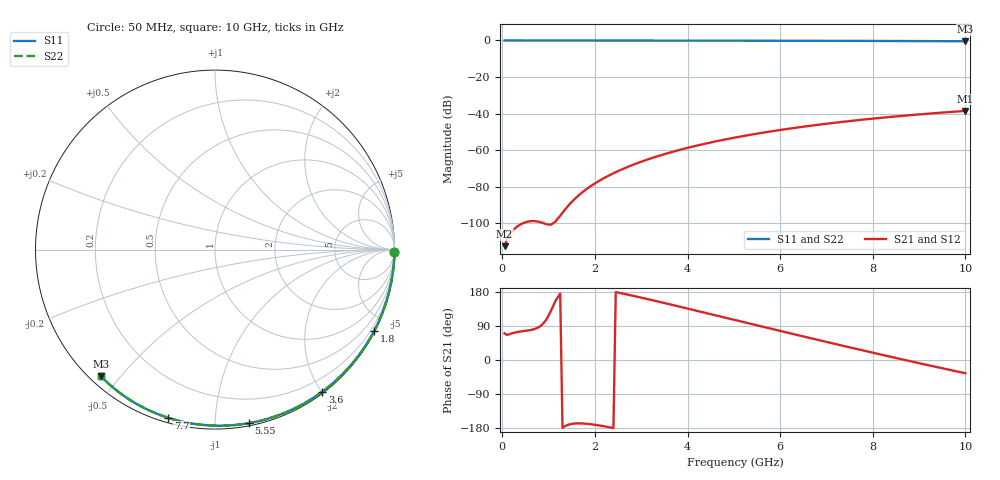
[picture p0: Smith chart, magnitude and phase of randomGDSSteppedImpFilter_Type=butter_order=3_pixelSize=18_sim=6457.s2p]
! freq	dB(S11)	phase(S11)	dB(S12)	phase(S12)
!  dB(S21)	phase(S21)	dB(S22)	phase(S22)
!S-par simulation data
#  GHz  S  DB  R 50
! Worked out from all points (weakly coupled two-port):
!   200 points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, 50 MHz to 10 GHz, reference 50 ohm
!   highest |S21| = -38.51 dB at 10 GHz (marker M1); lowest = -112.5 dB at 50 MHz (marker M2)
!   lowest |S11| = -0.4 dB at 10 GHz (marker M3), VSWR 39.03, Z = 1.54 - j22.3 ohm
!   |S11| at or under -10 dB: nowhere
!   |S22| runs from -0.4 to 0.0 dB; largest |S21 - S12| = 0
!   S11 on the Smith chart (normalised r, x): 50 MHz: open; 1.8 GHz: 0.04, -4.16; 3.6 GHz: 0.02, -2.01; 5.55 GHz: 0.02, -1.21; 7.7 GHz: 0.02, -0.76; 10 GHz: 0.03, -0.45
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0.05  -0.00 -0.8  -112.47 70.1  -112.47 70.1  -0.00 -0.8
0.45  -0.01 -6.9  -99.87 76.1  -99.87 76.1  -0.01 -6.9
0.9  -0.02 -13.7  -100.02 98.6  -100.02 98.6  -0.02 -13.7
1.75  -0.03 -26.3  -82.58 -167.7  -82.58 -167.7  -0.03 -26.3
1.8  -0.03 -27.0  -81.61 -168.1  -81.61 -168.1  -0.03 -27.0
1.9  -0.04 -28.5  -79.82 -169.3  -79.82 -169.3  -0.04 -28.5
2.05  -0.04 -30.7  -77.38 -171.9  -77.38 -171.9  -0.04 -30.7
2.25  -0.04 -33.6  -74.52 -176.1  -74.52 -176.1  -0.04 -33.6
2.45  -0.05 -36.5  -72.00 179.2  -72.00 179.2  -0.05 -36.5
2.65  -0.05 -39.4  -69.74 174.1  -69.74 174.1  -0.05 -39.4
3  -0.06 -44.4  -66.29 164.6  -66.29 164.6  -0.06 -44.4
3.4  -0.07 -50.1  -62.93 153.2  -62.93 153.2  -0.07 -50.1
3.6  -0.07 -52.9  -61.43 147.5  -61.43 147.5  -0.07 -52.9
4.3  -0.09 -62.5  -56.90 126.9  -56.90 126.9  -0.09 -62.5
5.05  -0.11 -72.5  -52.97 104.7  -52.97 104.7  -0.11 -72.5
5.55  -0.13 -79.0  -50.75 90.0  -50.75 90.0  -0.13 -79.0
6.1  -0.15 -86.0  -48.58 73.8  -48.58 73.8  -0.15 -86.0
6.7  -0.18 -93.4  -46.49 56.4  -46.49 56.4  -0.18 -93.4
7.7  -0.24 -105.4  -43.52 27.7  -43.52 27.7  -0.24 -105.4
8.35  -0.29 -113.1  -41.88 9.5  -41.88 9.5  -0.29 -113.1
9.15  -0.36 -122.3  -40.12 -12.4  -40.12 -12.4  -0.36 -122.3
10  -0.45 -132.0  -38.51 -35.0  -38.51 -35.0  -0.45 -132.0
